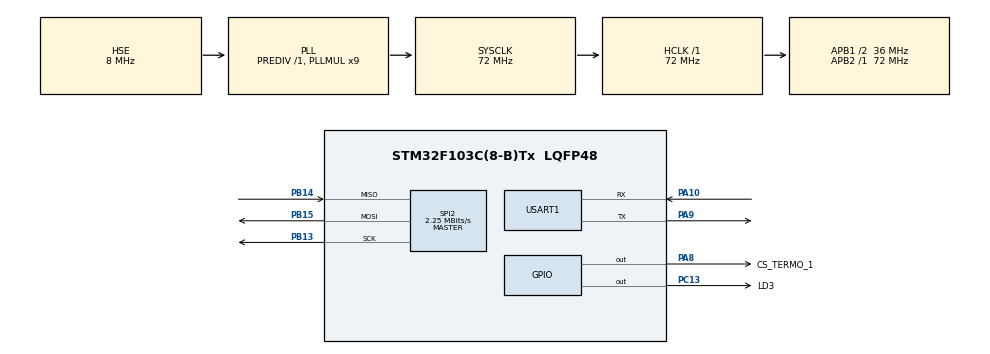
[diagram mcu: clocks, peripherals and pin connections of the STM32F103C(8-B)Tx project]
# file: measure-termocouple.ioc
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Mcu.Family=STM32F1
Mcu.Name=STM32F103C(8-B)Tx
Mcu.Package=LQFP48
NVIC.PriorityGroup=NVIC_PRIORITYGROUP_4
NVIC.USART1_IRQn=true\:0\:0\:false\:false\:true\:true\:true
PA10.Mode=Asynchronous
PA10.Signal=USART1_RX
PA13.Mode=Serial_Wire
PA13.Signal=SYS_JTMS-SWDIO
PA14.Mode=Serial_Wire
PA14.Signal=SYS_JTCK-SWCLK
PA8.GPIO_Label=CS_TERMO_1
PA8.GPIO_PuPd=GPIO_PULLUP
PA8.Signal=GPIO_Output
PA9.Mode=Asynchronous
PA9.Signal=USART1_TX
PB13.Mode=Full_Duplex_Master
PB13.Signal=SPI2_SCK
PB14.Mode=Full_Duplex_Master
PB14.Signal=SPI2_MISO
PB15.Mode=Full_Duplex_Master
PB15.Signal=SPI2_MOSI
PC13-TAMPER-RTC.GPIO_Label=LD3
PC13-TAMPER-RTC.GPIO_PuPd=GPIO_PULLUP
PC13-TAMPER-RTC.Signal=GPIO_Output
PD0-OSC_IN.Mode=HSE-External-Oscillator
PD0-OSC_IN.Signal=RCC_OSC_IN
PD1-OSC_OUT.Mode=HSE-External-Oscillator
PD1-OSC_OUT.Signal=RCC_OSC_OUT
ProjectManager.HeapSize=0x200
ProjectManager.StackSize=0x400
ProjectManager.TargetToolchain=MDK-ARM V5.32
RCC.ADCPresc=RCC_ADCPCLK2_DIV6
RCC.AHBFreq_Value=72000000
RCC.APB1CLKDivider=RCC_HCLK_DIV2
RCC.APB1Freq_Value=36000000
RCC.APB1TimFreq_Value=72000000
RCC.APB2Freq_Value=72000000
RCC.APB2TimFreq_Value=72000000
RCC.HCLKFreq_Value=72000000
RCC.PLLMUL=RCC_PLL_MUL9
RCC.PLLSourceVirtual=RCC_PLLSOURCE_HSE
RCC.SYSCLKFreq_VALUE=72000000
RCC.SYSCLKSource=RCC_SYSCLKSOURCE_PLLCLK
RCC.USBFreq_Value=72000000
SPI2.BaudRatePrescaler=SPI_BAUDRATEPRESCALER_16
SPI2.CalculateBaudRate=2.25 MBits/s
SPI2.DataSize=SPI_DATASIZE_16BIT
SPI2.Direction=SPI_DIRECTION_2LINES
SPI2.Mode=SPI_MODE_MASTER
SPI2.VirtualType=VM_MASTER
USART1.VirtualMode=VM_ASYNC
board=custom

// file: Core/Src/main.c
/* USER CODE BEGIN Header */
/**
  ******************************************************************************
  * @file           : main.c
  * @brief          : Main program body
  ******************************************************************************
  * @attention
  *
  * <h2><center>&copy; Copyright (c) 2022 STMicroelectronics.
  * All rights reserved.</center></h2>
  *
  * This software component is licensed by ST under BSD 3-Clause license,
  * the "License"; You may not use this file except in compliance with the
  * License. You may obtain a copy of the License at:
  *                        opensource.org/licenses/BSD-3-Clause
  *
  ******************************************************************************
  */
/* USER CODE END Header */
#include "main.h"
#include "spi.h"
#include "usart.h"
#include "gpio.h"

/* USER CODE BEGIN Includes */
#include "dev-info.h"
/* USER CODE END Includes */

void SystemClock_Config(void);

/* USER CODE BEGIN 0 */
uint16_t cur_time = 0;
uint16_t prev_time = 0;
uint16_t calc_time = 0;

uint16_t tx[1];
uint16_t rx[1];
uint16_t temp;

/* USER CODE END 0 */

int main(void)
{

  /* MCU Configuration--------------------------------------------------------*/

  /* Reset of all peripherals, Initializes the Flash interface and the Systick. */
  HAL_Init();

  /* Configure the system clock */
  SystemClock_Config();

  /* Initialize all configured peripherals */
  MX_GPIO_Init();
  MX_USART1_UART_Init();
  MX_SPI2_Init();
  /* USER CODE BEGIN 2 */

  dev_init (&devInfo);
	StartReceiveUART ();
  /* USER CODE END 2 */

  /* Infinite loop */
  /* USER CODE BEGIN WHILE */
  while (1)
  {
    processing_input_buffer (&devInfo);

    cur_time = get_sys_time (&devInfo);

		if (cur_time > prev_time) {
			calc_time = cur_time - prev_time;
		}
		else {
			calc_time = MAX_SYS_TICK_MS - prev_time + cur_time;
		}

		if (calc_time >= PERIOD_MEASURE_TEMPERATURE) {
			/*execute many times when counters are zero*/
			prev_time = cur_time;

			HAL_GPIO_WritePin (LD3_GPIO_Port, LD3_Pin, GPIO_PIN_SET); // test speed measurement

			if (devInfo.f_ready_thermocouple == FLAG_THERMOCOUPLE_READY)
			{
				devInfo.f_ready_thermocouple = FLAG_THERMOCOUPLE_WAIT;

				HAL_GPIO_WritePin (CS_TERMO_1_GPIO_Port, CS_TERMO_1_Pin, GPIO_PIN_RESET);
				HAL_SPI_TransmitReceive (&hspi2, (uint8_t *)tx, (uint8_t *)rx, 1, PERIOD_MEASURE_TEMPERATURE);
				HAL_GPIO_WritePin (CS_TERMO_1_GPIO_Port, CS_TERMO_1_Pin, GPIO_PIN_SET);

				temp = rx[0] >> 3;
				rx[0] = 0;
				devInfo.value_thermocouple[1] = (uint8_t)((temp & 0xFF00) >> 8);
				devInfo.value_thermocouple[0] = (uint8_t)(temp & 0x00FF);
			}

			HAL_GPIO_WritePin (LD3_GPIO_Port, LD3_Pin, GPIO_PIN_RESET); // test speed measurement
		}
		else
		{
			if (devInfo.f_ready_thermocouple == FLAG_THERMOCOUPLE_WAIT)
			{
				devInfo.f_ready_thermocouple = FLAG_THERMOCOUPLE_READY;
			}
		}

    /* USER CODE END WHILE */

  }
}

void SystemClock_Config(void)
{
  RCC_OscInitTypeDef RCC_OscInitStruct = {0};
  RCC_ClkInitTypeDef RCC_ClkInitStruct = {0};

  /** Initializes the RCC Oscillators according to the specified parameters
  * in the RCC_OscInitTypeDef structure.
  */
  RCC_OscInitStruct.OscillatorType = RCC_OSCILLATORTYPE_HSE;
  RCC_OscInitStruct.HSEState = RCC_HSE_ON;
  RCC_OscInitStruct.HSEPredivValue = RCC_HSE_PREDIV_DIV1;
  RCC_OscInitStruct.HSIState = RCC_HSI_ON;
  RCC_OscInitStruct.PLL.PLLState = RCC_PLL_ON;
  RCC_OscInitStruct.PLL.PLLSource = RCC_PLLSOURCE_HSE;
  RCC_OscInitStruct.PLL.PLLMUL = RCC_PLL_MUL9;
  if (HAL_RCC_OscConfig(&RCC_OscInitStruct) != HAL_OK)
  {
    Error_Handler();
  }
  /** Initializes the CPU, AHB and APB buses clocks
  */
  RCC_ClkInitStruct.ClockType = RCC_CLOCKTYPE_HCLK|RCC_CLOCKTYPE_SYSCLK
                              |RCC_CLOCKTYPE_PCLK1|RCC_CLOCKTYPE_PCLK2;
  RCC_ClkInitStruct.SYSCLKSource = RCC_SYSCLKSOURCE_PLLCLK;
  RCC_ClkInitStruct.AHBCLKDivider = RCC_SYSCLK_DIV1;
  RCC_ClkInitStruct.APB1CLKDivider = RCC_HCLK_DIV2;
  RCC_ClkInitStruct.APB2CLKDivider = RCC_HCLK_DIV1;

  if (HAL_RCC_ClockConfig(&RCC_ClkInitStruct, FLASH_LATENCY_2) != HAL_OK)
  {
    Error_Handler();
  }
}

void Error_Handler(void)
{
  __disable_irq();
  while (1)
  {
  }
}

/************************ (C) COPYRIGHT STMicroelectronics *****END OF FILE****/
